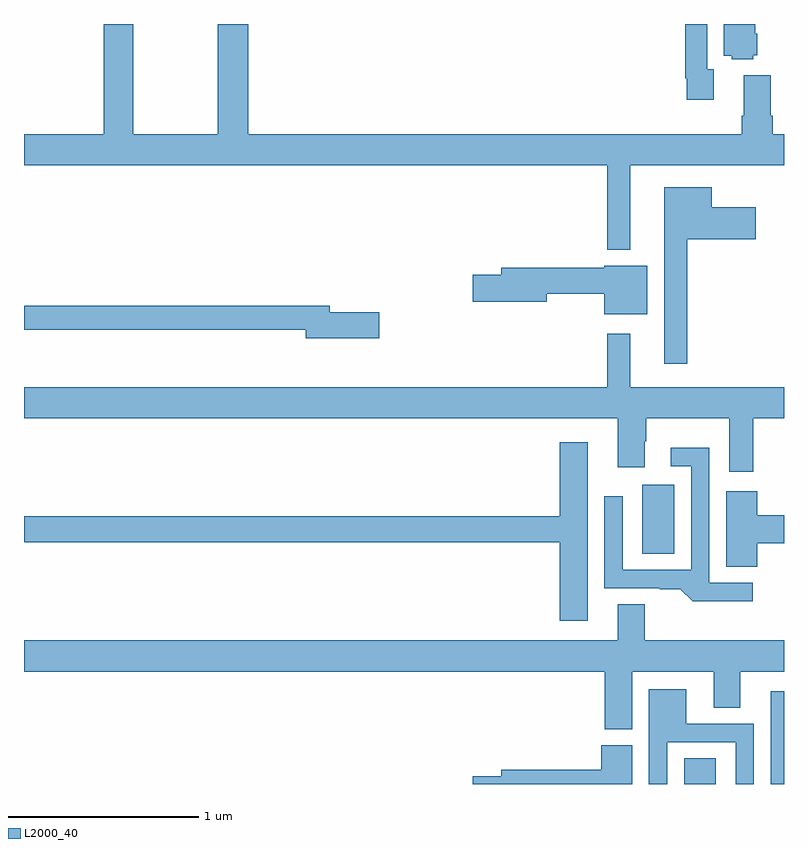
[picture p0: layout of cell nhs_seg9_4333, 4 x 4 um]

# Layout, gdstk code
import gdstk
lib = gdstk.Library(unit=1e-6, precision=1e-09)
def R(c, l, rs):  # rectangles x0, y0, x1, y1
    for r in rs: c.add(gdstk.rectangle(r[:2], r[2:], *l))
def P(c, l, *ps):  # polygons
    for p in ps: c.add(gdstk.Polygon(p, *l))
L2000_40 = (2000, 40)

nhs_seg9_4333 = lib.new_cell('nhs_seg9_4333')
R(nhs_seg9_4333, L2000_40, [(362.474,1190.5,362.641,1190.636), (362.93,1190.5,363,1190.989), (362.255,1191.712,362.422,1192.075)])
P(nhs_seg9_4333, L2000_40, [(362.191,1193.756),(363,1193.756),(363,1193.92),(362.942,1193.92),(362.942,1194.016),(362.929,1194.016),(362.929,1194.229),(362.789,1194.229),(362.789,1194.016),(362.777,1194.016),(362.777,1193.92),(360.179,1193.92),(360.179,1194.5),(360.019,1194.5),(360.019,1193.92),(359.574,1193.92),(359.574,1194.5),(359.419,1194.5),(359.419,1193.92),(359,1193.92),(359,1193.756),(362.07,1193.756),(362.07,1193.312),(362.191,1193.312)],
  [(362.629,1194.263),(362.595,1194.263),(362.595,1194.5),(362.479,1194.5),(362.479,1194.214),(362.487,1194.214),(362.487,1194.102),(362.629,1194.102)],
  [(362.838,1194.336),(362.86,1194.336),(362.86,1194.45),(362.848,1194.45),(362.848,1194.5),(362.684,1194.5),(362.684,1194.332),(362.724,1194.332),(362.724,1194.314),(362.838,1194.314)],
  [(362.491,1193.366),(362.851,1193.366),(362.851,1193.536),(362.62,1193.536),(362.62,1193.641),(362.369,1193.641),(362.369,1192.713),(362.491,1192.713)],
  [(362.281,1193.227),(362.054,1193.227),(362.054,1193.216),(361.511,1193.216),(361.511,1193.18),(361.362,1193.18),(361.362,1193.038),(361.75,1193.038),(361.75,1193.08),(362.054,1193.08),(362.054,1192.973),(362.281,1192.973)],
  [(360.871,1192.982),(360.61,1192.982),(360.61,1193.018),(359,1193.018),(359,1192.89),(360.482,1192.89),(360.482,1192.847),(360.871,1192.847)],
  [(362.837,1192.424),(363,1192.424),(363,1192.588),(362.191,1192.588),(362.191,1192.87),(362.07,1192.87),(362.07,1192.588),(359,1192.588),(359,1192.424),(362.126,1192.424),(362.126,1192.167),(362.266,1192.167),(362.266,1192.304),(362.274,1192.304),(362.274,1192.424),(362.711,1192.424),(362.711,1192.143),(362.837,1192.143)],
  [(361.966,1192.3),(361.82,1192.3),(361.82,1191.908),(359,1191.908),(359,1191.772),(361.82,1191.772),(361.82,1191.36),(361.966,1191.36)],
  [(362.836,1191.558),(362.607,1191.558),(362.607,1192.27),(362.403,1192.27),(362.403,1192.173),(362.511,1192.173),(362.511,1191.627),(362.151,1191.627),(362.151,1192.015),(362.055,1192.015),(362.055,1191.531),(362.345,1191.531),(362.345,1191.526),(362.453,1191.526),(362.519,1191.461),(362.836,1191.461)],
  [(362.858,1191.767),(363,1191.767),(363,1191.914),(362.858,1191.914),(362.858,1192.042),(362.696,1192.042),(362.696,1191.643),(362.858,1191.643)],
  [(362.2,1191.092),(362.63,1191.092),(362.63,1190.902),(362.77,1190.902),(362.77,1191.092),(363,1191.092),(363,1191.256),(362.266,1191.256),(362.266,1191.446),(362.126,1191.446),(362.126,1191.256),(359,1191.256),(359,1191.092),(362.057,1191.092),(362.057,1190.788),(362.2,1190.788)],
  [(362.385,1190.721),(362.745,1190.721),(362.745,1190.5),(362.841,1190.5),(362.841,1190.817),(362.485,1190.817),(362.485,1190.998),(362.289,1190.998),(362.289,1190.5),(362.385,1190.5)],
  [(362.2,1190.703),(362.039,1190.703),(362.039,1190.576),(361.511,1190.576),(361.511,1190.54),(361.362,1190.54),(361.362,1190.5),(362.2,1190.5)])

lib.write_gds('nhs_seg9_4333.gds')
